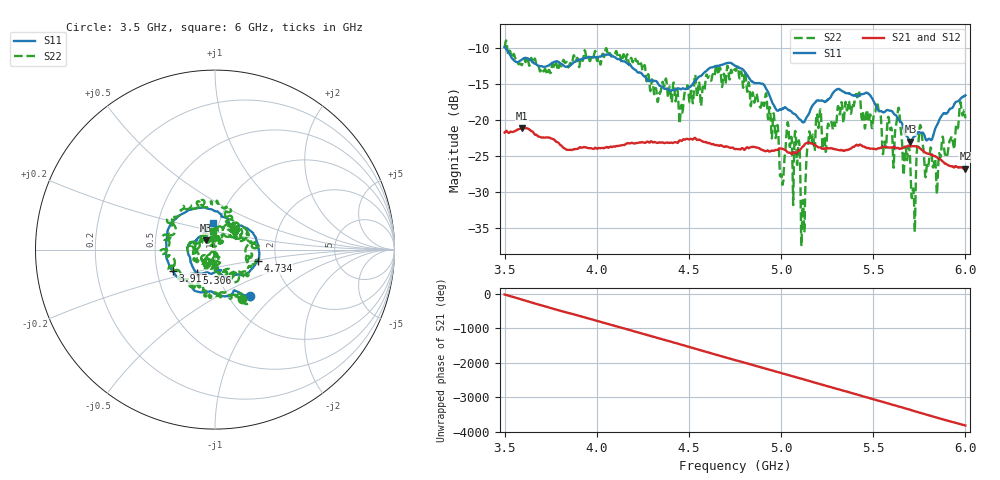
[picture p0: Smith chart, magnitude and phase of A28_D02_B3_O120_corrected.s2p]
! Created with skrf 1.9.0 (http://scikit-rf.org).
# Hz S RI R 50.0
!freq ReS11 ImS11 ReS21 ImS21 ReS12 ImS12 ReS22 ImS22
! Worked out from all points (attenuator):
!   1601 points, 3.5 GHz to 6 GHz, reference 50 ohm
!   highest |S21| = -21.10 dB at 3.592 GHz (marker M1); lowest = -26.8 dB at 6 GHz (marker M2)
!   lowest |S11| = -23.0 dB at 5.702 GHz (marker M3), VSWR 1.15, Z = 45.1 + j4.65 ohm
!   |S11| at or under -10 dB: 3.504 GHz to end of sweep
!   |S22| runs from -37.5 to -9.0 dB; largest |S21 - S12| = 0.00094
!   S11 on the Smith chart (normalised r, x): 3.5 GHz: 1.25, -0.72; 3.917 GHz: 0.60, -0.15; 4.734 GHz: 1.60, -0.22; 5.306 GHz: 0.79, -0.21; 6 GHz: 0.94, +0.29
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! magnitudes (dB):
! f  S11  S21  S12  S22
! 3.5 GHz  -9.9  -21.7  -21.7  -10.0
! 3.592 GHz  -11.6  -21.1  -21.1  -12.4
! 3.917 GHz  -11.6  -23.8  -23.8  -11.3
! 4.211 GHz  -13.1  -23.2  -23.2  -11.6
! 4.334 GHz  -15.0  -23.1  -23.1  -17.0
! 4.734 GHz  -12.2  -23.8  -23.9  -13.5
! 4.75 GHz  -12.5  -24.0  -24.0  -13.0
! 4.927 GHz  -16.0  -24.2  -24.2  -18.9
! 5.003 GHz  -18.5  -24.0  -24.0  -28.0
! 5.033 GHz  -18.4  -24.4  -24.3  -20.7
! 5.088 GHz  -19.5  -24.4  -24.4  -26.2
! 5.119 GHz  -20.3  -23.7  -23.6  -31.1
! 5.145 GHz  -19.4  -23.2  -23.1  -23.5
! 5.167 GHz  -18.1  -23.3  -23.2  -22.9
! 5.306 GHz  -15.7  -24.1  -24.1  -18.4
! 5.584 GHz  -18.7  -23.8  -23.8  -19.7
! 5.639 GHz  -20.0  -23.9  -23.9  -18.3
! 5.702 GHz  -23.0  -23.7  -23.6  -26.3
! 5.719 GHz  -22.4  -23.6  -23.6  -29.9
! 5.752 GHz  -21.7  -23.9  -23.8  -21.0
! 5.839 GHz  -21.0  -25.1  -25.0  -26.5
! 6 GHz  -16.6  -26.8  -26.7  -19.7
